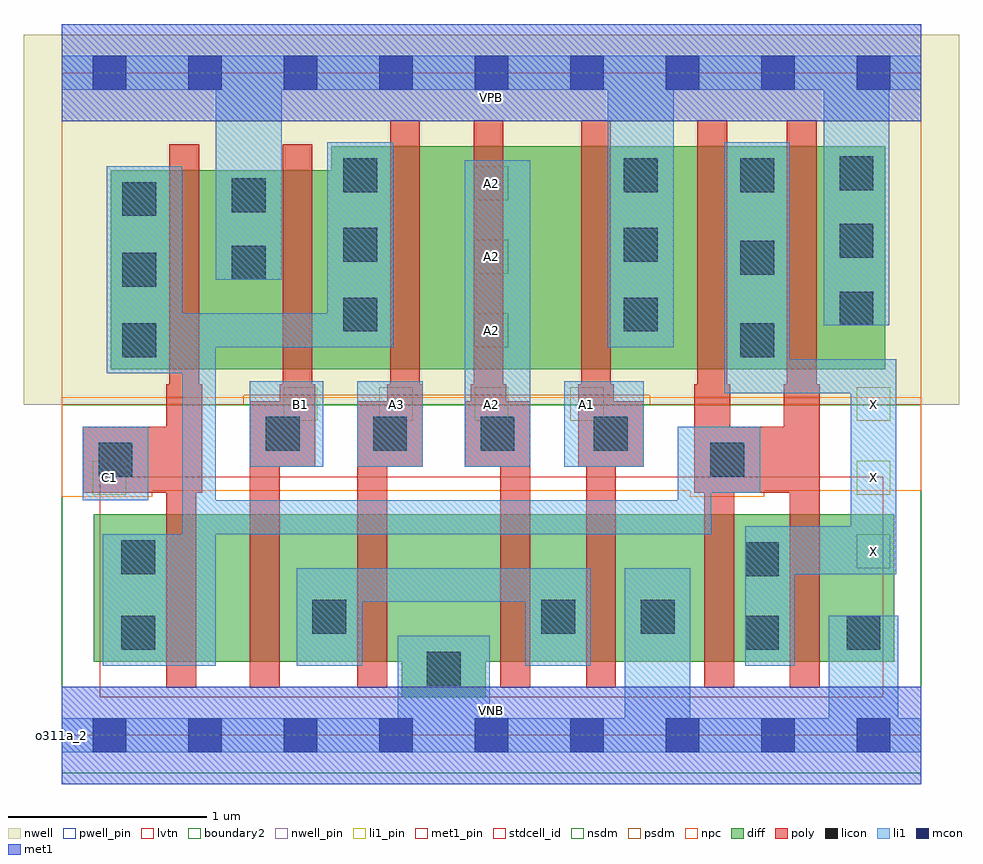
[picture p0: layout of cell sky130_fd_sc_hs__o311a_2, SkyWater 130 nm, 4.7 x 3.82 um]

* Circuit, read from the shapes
.subckt sky130_fd_sc_hs__o311a_2 A1 A2 A3 B1 C1 VGND VNB VPB VPWR X
XM1 n1 C1 n2 VNB sky130_fd_pr__nfet_01v8_lvt w=0.74 l=0.15
XM2 n3 B1 n1 VNB sky130_fd_pr__nfet_01v8_lvt w=0.74 l=0.15
XM3 VGND A3 n3 VNB sky130_fd_pr__nfet_01v8_lvt w=0.74 l=0.15
XM4 n3 A2 VGND VNB sky130_fd_pr__nfet_01v8_lvt w=0.74 l=0.15
XM5 VGND A1 n3 VNB sky130_fd_pr__nfet_01v8_lvt w=0.74 l=0.15
XM6 X n2 VGND VNB sky130_fd_pr__nfet_01v8_lvt w=0.74 l=0.15 m=2
XM7 VPWR C1 n2 VPB sky130_fd_pr__pfet_01v8 w=1 l=0.15
XM8 n2 B1 VPWR VPB sky130_fd_pr__pfet_01v8 w=1 l=0.15
XM9 n4 A3 n2 VPB sky130_fd_pr__pfet_01v8 w=1.12 l=0.15
XM10 n5 A2 n4 VPB sky130_fd_pr__pfet_01v8 w=1.12 l=0.15
XM11 VPWR A1 n5 VPB sky130_fd_pr__pfet_01v8 w=1.12 l=0.15
XM12 X n2 VPWR VPB sky130_fd_pr__pfet_01v8 w=1.12 l=0.15 m=2
.ends

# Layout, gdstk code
import gdstk
lib = gdstk.Library(unit=1e-6, precision=1e-09)
def R(c, l, rs):  # rectangles x0, y0, x1, y1
    for r in rs: c.add(gdstk.rectangle(r[:2], r[2:], *l))
def A(c, l, x, y, w, h, nx, ny, dx, dy):  # array of equal rectangles
    R(c, l, [(x+i*dx, y+j*dy, x+i*dx+w, y+j*dy+h) for i in range(nx) for j in range(ny)])
def P(c, l, *ps):  # polygons
    for p in ps: c.add(gdstk.Polygon(p, *l))
nwell_pin = (64, 16)
nwell = (64, 20)
diff = (65, 20)
poly = (66, 20)
licon = (66, 44)
li1_pin = (67, 16)
li1 = (67, 20)
mcon = (67, 44)
met1_pin = (68, 16)
met1 = (68, 20)
stdcell_id = (81, 4)
nsdm = (93, 44)
psdm = (94, 20)
npc = (95, 20)
pwell_pin = (122, 16)
lvtn = (125, 44)
boundary2 = (236, 0)

sky130_fd_sc_hs__o311a_2 = lib.new_cell('sky130_fd_sc_hs__o311a_2')
R(sky130_fd_sc_hs__o311a_2, nwell_pin, [(0,3.085,4.32,3.33)])
R(sky130_fd_sc_hs__o311a_2, nwell, [(-0.19,1.66,4.51,3.52)])
P(sky130_fd_sc_hs__o311a_2, diff, [(4.14,2.96),(1.355,2.96),(1.355,2.84),(0.245,2.84),(0.245,1.84),(4.14,1.84)],
  [(4.185,1.11),(0.16,1.11),(0.16,0.37),(1.71,0.37),(1.71,0.19),(2.13,0.19),(2.13,0.37),(4.185,0.37)])
P(sky130_fd_sc_hs__o311a_2, poly, [(3.81,1.765),(3.795,1.765),(3.795,3.09),(3.645,3.09),(3.645,1.765),(3.63,1.765),(3.63,1.55),(3.36,1.55),(3.36,1.765),(3.345,1.765),(3.345,3.09),(3.195,3.09),(3.195,1.765),(3.18,1.765),(3.18,1.22),(3.23,1.22),(3.23,0.24),(3.38,0.24),(3.38,1.22),(3.66,1.22),(3.66,0.24),(3.81,0.24)],
  [(2.925,1.68),(2.775,1.68),(2.775,1.765),(2.76,1.765),(2.76,3.09),(2.61,3.09),(2.61,1.765),(2.595,1.765),(2.595,1.35),(2.635,1.35),(2.635,0.24),(2.785,0.24),(2.785,1.35),(2.925,1.35)],
  [(2.355,1.68),(2.235,1.68),(2.235,1.765),(2.22,1.765),(2.22,3.09),(2.07,3.09),(2.07,1.765),(2.055,1.765),(2.055,1.68),(2.025,1.68),(2.025,1.35),(2.205,1.35),(2.205,0.24),(2.355,0.24)],
  [(1.815,1.765),(1.8,1.765),(1.8,3.09),(1.65,3.09),(1.65,1.765),(1.635,1.765),(1.635,1.68),(1.485,1.68),(1.485,0.24),(1.635,0.24),(1.635,1.35),(1.815,1.35)],
  [(1.275,1.765),(1.26,1.765),(1.26,2.97),(1.11,2.97),(1.11,1.765),(1.095,1.765),(1.095,1.68),(0.945,1.68),(0.945,0.24),(1.095,0.24),(1.095,1.35),(1.275,1.35)],
  [(0.705,1.765),(0.69,1.765),(0.69,2.97),(0.54,2.97),(0.54,1.765),(0.525,1.765),(0.525,1.55),(0.105,1.55),(0.105,1.22),(0.525,1.22),(0.525,0.24),(0.675,0.24),(0.675,1.22),(0.705,1.22)])
A(sky130_fd_sc_hs__o311a_2, licon, 1.025, 1.43, 0.17, 0.17, 3, 1, 0.54, 0)
A(sky130_fd_sc_hs__o311a_2, licon, 0.305, 1.9, 0.17, 0.17, 1, 3, 0, 0.355)
A(sky130_fd_sc_hs__o311a_2, licon, 3.41, 1.9, 0.17, 0.17, 1, 3, 0, 0.415)
A(sky130_fd_sc_hs__o311a_2, licon, 1.415, 2.03, 0.17, 0.17, 1, 3, 0, 0.35)
A(sky130_fd_sc_hs__o311a_2, licon, 2.825, 2.03, 0.17, 0.17, 1, 3, 0, 0.35)
A(sky130_fd_sc_hs__o311a_2, licon, 3.91, 2.06, 0.17, 0.17, 1, 3, 0, 0.34)
R(sky130_fd_sc_hs__o311a_2, licon, [(1.835,0.25,2.005,0.42), (0.3,0.43,0.47,0.6), (3.435,0.43,3.605,0.6), (3.945,0.43,4.115,0.6), (1.26,0.51,1.43,0.68), (2.41,0.51,2.58,0.68), (2.91,0.51,3.08,0.68), (3.435,0.8,3.605,0.97), (0.3,0.81,0.47,0.98), (0.185,1.3,0.355,1.47), (3.26,1.3,3.43,1.47), (2.675,1.43,2.845,1.6), (0.855,2.29,1.025,2.46), (0.855,2.63,1.025,2.8)])
A(sky130_fd_sc_hs__o311a_2, li1_pin, 3.995, 0.84, 0.17, 0.17, 1, 3, 0, 0.37)
A(sky130_fd_sc_hs__o311a_2, li1_pin, 1.115, 1.58, 0.17, 0.17, 4, 1, 0.48, 0)
A(sky130_fd_sc_hs__o311a_2, li1_pin, 2.075, 1.95, 0.17, 0.17, 1, 3, 0, 0.37)
R(sky130_fd_sc_hs__o311a_2, li1_pin, [(0.155,1.21,0.325,1.38)])
R(sky130_fd_sc_hs__o311a_2, li1, [(0.105,1.18,0.435,1.55), (0.945,1.35,1.315,1.78), (1.485,1.35,1.815,1.78), (2.025,1.35,2.355,2.89), (2.525,1.35,2.925,1.78)])
P(sky130_fd_sc_hs__o311a_2, li1, [(0,-0.085),(0,0.085),(1.69,0.085),(1.69,0.5),(2.15,0.5),(2.15,0.085),(2.83,0.085),(2.83,0.84),(3.16,0.84),(3.16,0.085),(3.855,0.085),(3.855,0.6),(4.205,0.6),(4.205,0.085),(4.32,0.085),(4.32,-0.085)],
  [(0,3.245),(0,3.415),(4.32,3.415),(4.32,3.245),(4.16,3.245),(4.16,2.06),(3.83,2.06),(3.83,3.245),(3.075,3.245),(3.075,1.95),(2.745,1.95),(2.745,3.245),(1.105,3.245),(1.105,2.29),(0.775,2.29),(0.775,3.245)],
  [(3.685,0.81),(3.685,0.35),(3.435,0.35),(3.435,1.05),(3.965,1.05),(3.965,1.72),(3.33,1.72),(3.33,2.98),(3.66,2.98),(3.66,1.89),(4.195,1.89),(4.195,0.81)],
  [(0.605,2.12),(1.335,2.12),(1.335,2.98),(1.665,2.98),(1.665,1.95),(0.775,1.95),(0.775,1.18),(3.095,1.18),(3.095,1.55),(3.51,1.55),(3.51,1.22),(3.265,1.22),(3.265,1.01),(0.775,1.01),(0.775,0.35),(0.205,0.35),(0.205,1.01),(0.605,1.01),(0.605,1.82),(0.225,1.82),(0.225,2.86),(0.605,2.86)],
  [(2.33,0.67),(1.51,0.67),(1.51,0.35),(1.18,0.35),(1.18,0.84),(2.66,0.84),(2.66,0.35),(2.33,0.35)])
A(sky130_fd_sc_hs__o311a_2, mcon, 0.155, -0.085, 0.17, 0.17, 9, 2, 0.48, 3.33)
R(sky130_fd_sc_hs__o311a_2, met1_pin, [(0,0,4.32,0.245), (0,3.085,4.32,3.33)])
R(sky130_fd_sc_hs__o311a_2, met1, [(0,-0.245,4.32,0.245), (0,3.085,4.32,3.575)])
R(sky130_fd_sc_hs__o311a_2, stdcell_id, [(0,0,4.32,3.33)])
R(sky130_fd_sc_hs__o311a_2, nsdm, [(0,-0.19,4.32,1.66)])
P(sky130_fd_sc_hs__o311a_2, psdm, [(4.32,3.52),(0,3.52),(0,1.66),(0.915,1.66),(0.915,1.71),(2.955,1.71),(2.955,1.66),(4.32,1.66)])
P(sky130_fd_sc_hs__o311a_2, npc, [(4.32,1.7),(0,1.7),(0,1.2),(0.455,1.2),(0.455,1.23),(3.16,1.23),(3.16,1.2),(3.53,1.2),(3.53,1.23),(4.32,1.23)])
R(sky130_fd_sc_hs__o311a_2, pwell_pin, [(0,0,4.32,0.245)])
R(sky130_fd_sc_hs__o311a_2, lvtn, [(0.19,0.19,4.13,1.3)])
R(sky130_fd_sc_hs__o311a_2, boundary2, [(0,0,4.32,3.33)])
sky130_fd_sc_hs__o311a_2.add(gdstk.Label('o311a_2', (0,0), layer=83, texttype=44))
sky130_fd_sc_hs__o311a_2.add(gdstk.Label('VNB', (2.16,0.123), layer=64, texttype=59))
sky130_fd_sc_hs__o311a_2.add(gdstk.Label('VPB', (2.16,3.208), layer=64, texttype=5))
sky130_fd_sc_hs__o311a_2.add(gdstk.Label('VPWR', (2.16,3.208), layer=68, texttype=5))
sky130_fd_sc_hs__o311a_2.add(gdstk.Label('VGND', (2.16,0.123), layer=68, texttype=5))
sky130_fd_sc_hs__o311a_2.add(gdstk.Label('X', (4.08,0.925), layer=67, texttype=5))
sky130_fd_sc_hs__o311a_2.add(gdstk.Label('X', (4.08,1.295), layer=67, texttype=5))
sky130_fd_sc_hs__o311a_2.add(gdstk.Label('X', (4.08,1.665), layer=67, texttype=5))
sky130_fd_sc_hs__o311a_2.add(gdstk.Label('A1', (2.64,1.665), layer=67, texttype=5))
sky130_fd_sc_hs__o311a_2.add(gdstk.Label('A2', (2.16,1.665), layer=67, texttype=5))
sky130_fd_sc_hs__o311a_2.add(gdstk.Label('A2', (2.16,2.035), layer=67, texttype=5))
sky130_fd_sc_hs__o311a_2.add(gdstk.Label('A2', (2.16,2.405), layer=67, texttype=5))
sky130_fd_sc_hs__o311a_2.add(gdstk.Label('A2', (2.16,2.775), layer=67, texttype=5))
sky130_fd_sc_hs__o311a_2.add(gdstk.Label('A3', (1.68,1.665), layer=67, texttype=5))
sky130_fd_sc_hs__o311a_2.add(gdstk.Label('B1', (1.2,1.665), layer=67, texttype=5))
sky130_fd_sc_hs__o311a_2.add(gdstk.Label('C1', (0.24,1.295), layer=67, texttype=5))

lib.write_gds('sky130_fd_sc_hs__o311a_2.gds')
